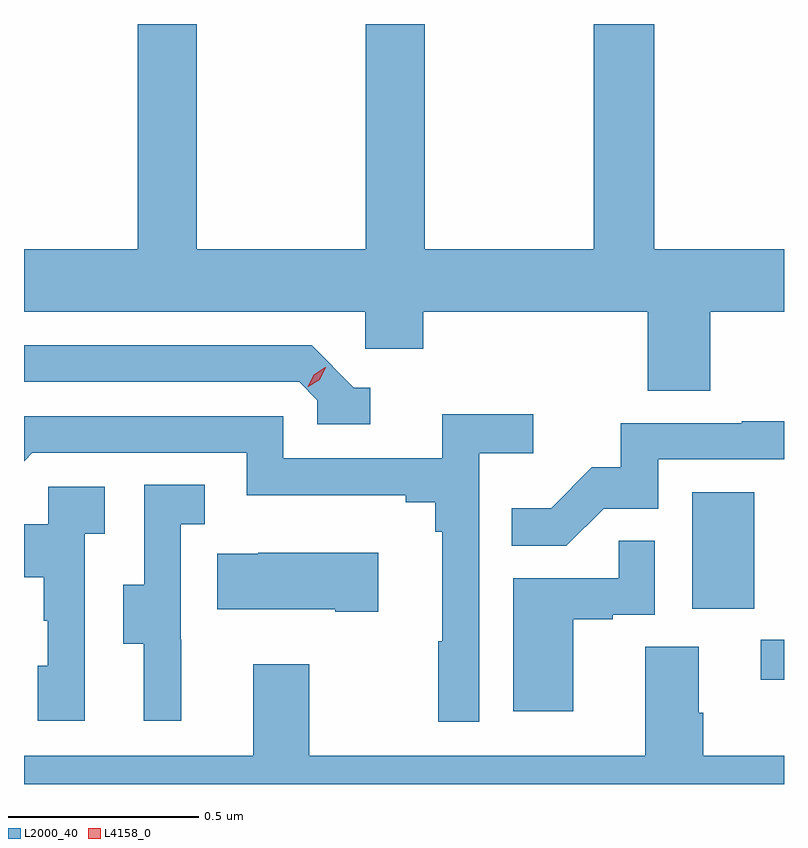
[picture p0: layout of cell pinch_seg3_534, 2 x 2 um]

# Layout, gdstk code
import gdstk
lib = gdstk.Library(unit=1e-6, precision=1e-09)
def R(c, l, rs):  # rectangles x0, y0, x1, y1
    for r in rs: c.add(gdstk.rectangle(r[:2], r[2:], *l))
def P(c, l, *ps):  # polygons
    for p in ps: c.add(gdstk.Polygon(p, *l))
L2000_40 = (2000, 40)
L4158_0 = (4158, 0)

pinch_seg3_534 = lib.new_cell('pinch_seg3_534')
R(pinch_seg3_534, L2000_40, [(1103.715,694.62,1103.776,694.725), (1103.534,694.806,1103.698,695.113)])
P(pinch_seg3_534, L2000_40, [(1103.582,695.588),(1103.776,695.588),(1103.776,695.752),(1103.435,695.752),(1103.435,696.345),(1103.275,696.345),(1103.275,695.752),(1102.83,695.752),(1102.83,696.345),(1102.675,696.345),(1102.675,695.752),(1102.23,695.752),(1102.23,696.345),(1102.075,696.345),(1102.075,695.752),(1101.776,695.752),(1101.776,695.588),(1102.674,695.588),(1102.674,695.49),(1102.826,695.49),(1102.826,695.588),(1103.417,695.588),(1103.417,695.38),(1103.582,695.38)],
  [(1102.687,695.388),(1102.644,695.388),(1102.533,695.499),(1101.776,695.499),(1101.776,695.403),(1102.5,695.403),(1102.548,695.355),(1102.548,695.292),(1102.687,695.292)],
  [(1102.974,695.216),(1103.116,695.216),(1103.116,695.318),(1102.877,695.318),(1102.877,695.202),(1102.458,695.202),(1102.458,695.313),(1101.776,695.313),(1101.776,695.195),(1101.798,695.217),(1102.362,695.217),(1102.362,695.105),(1102.781,695.105),(1102.781,695.086),(1102.858,695.086),(1102.858,695.009),(1102.877,695.009),(1102.877,694.721),(1102.866,694.721),(1102.866,694.509),(1102.974,694.509)],
  [(1103.301,695.07),(1103.445,695.07),(1103.445,695.199),(1103.776,695.199),(1103.776,695.3),(1103.665,695.3),(1103.665,695.295),(1103.347,695.295),(1103.347,695.178),(1103.27,695.178),(1103.163,695.071),(1103.059,695.071),(1103.059,694.972),(1103.203,694.972)],
  [(1102.19,694.725),(1102.188,694.725),(1102.188,695.029),(1102.252,695.029),(1102.252,695.132),(1102.092,695.132),(1102.092,694.869),(1102.037,694.869),(1102.037,694.714),(1102.091,694.714),(1102.091,694.512),(1102.19,694.512)],
  [(1101.936,695.003),(1101.988,695.003),(1101.988,695.127),(1101.84,695.127),(1101.84,695.029),(1101.776,695.029),(1101.776,694.889),(1101.828,694.889),(1101.828,694.775),(1101.838,694.775),(1101.838,694.656),(1101.812,694.656),(1101.812,694.512),(1101.936,694.512)],
  [(1103.221,694.779),(1103.325,694.779),(1103.325,694.791),(1103.436,694.791),(1103.436,694.985),(1103.341,694.985),(1103.341,694.887),(1103.063,694.887),(1103.063,694.536),(1103.221,694.536)],
  [(1102.708,694.954),(1102.393,694.954),(1102.393,694.951),(1102.285,694.951),(1102.285,694.805),(1102.595,694.805),(1102.595,694.798),(1102.708,694.798)],
  [(1103.776,694.42),(1103.564,694.42),(1103.564,694.532),(1103.551,694.532),(1103.551,694.706),(1103.411,694.706),(1103.411,694.42),(1102.527,694.42),(1102.527,694.66),(1102.379,694.66),(1102.379,694.42),(1101.776,694.42),(1101.776,694.345),(1103.776,694.345)])
P(pinch_seg3_534, L4158_0, [(1102.523,695.39),(1102.523,695.39),(1102.539,695.422),(1102.569,695.442),(1102.57,695.442),(1102.57,695.442),(1102.554,695.409),(1102.524,695.39)])

lib.write_gds('pinch_seg3_534.gds')
